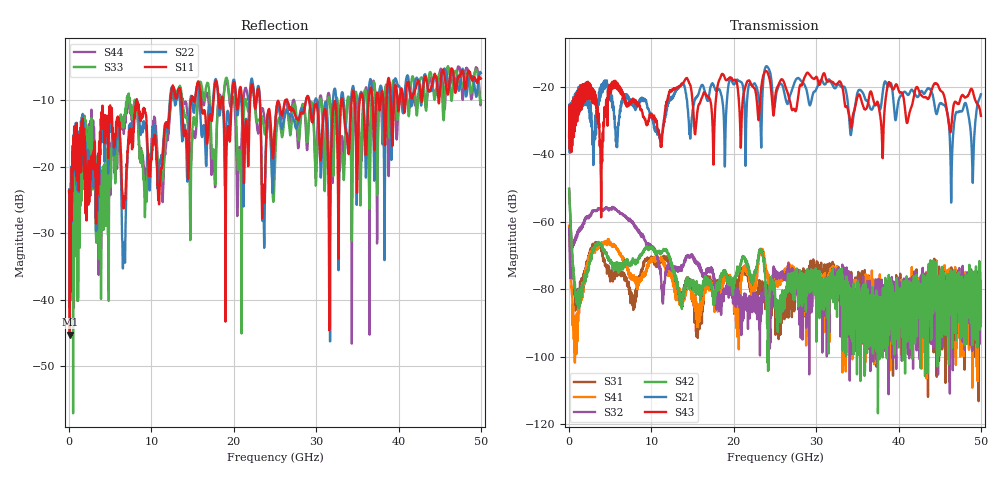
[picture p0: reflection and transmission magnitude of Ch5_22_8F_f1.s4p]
!Agilent Technologies,N5247A,US51170199,A.09.90.13
!Agilent N5247A: A.09.90.13
!Date: Wednesday, December 09, 2015 09:42:57
!Correction: S11(Full 4 Port(1,2,3,4))
!S12(Full 4 Port(1,2,3,4))
!S13(Full 4 Port(1,2,3,4))
!S14(Full 4 Port(1,2,3,4))
!S21(Full 4 Port(1,2,3,4))
!S22(Full 4 Port(1,2,3,4))
!S23(Full 4 Port(1,2,3,4))
!S24(Full 4 Port(1,2,3,4))
!S31(Full 4 Port(1,2,3,4))
!S32(Full 4 Port(1,2,3,4))
!S33(Full 4 Port(1,2,3,4))
!S34(Full 4 Port(1,2,3,4))
!S41(Full 4 Port(1,2,3,4))
!S42(Full 4 Port(1,2,3,4))
!S43(Full 4 Port(1,2,3,4))
!S44(Full 4 Port(1,2,3,4))
!S4P File: Measurements: <S11,S12,S13,S14>,
!<S21,S22,S23,S24>,
!<S31,S32,S33,S34>,
!<S41,S42,S43,S44>:
# Hz S  dB  R 50
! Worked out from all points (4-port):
!   3201 points, 10 MHz to 50 GHz, reference 50 ohm
!   strongest paths, dB at 10 MHz, 12.51 GHz, 25 GHz, 37.5 GHz, 50 GHz:
!     S43: -35.0, -21.2, -23.8, -24.7, -28.6
!     S21: -34.5, -23.5, -25.2, -25.1, -22.2
!     S42: -50.2, -73.1, -80.6, -116.8, -88.0
!     S32: -62.0, -73.8, -75.3, -87.3, -81.2
!     S41: -61.2, -76.7, -77.1, -84.1, -89.7
!     S31: -50.4, -75.0, -84.7, -84.6, -87.5
!   lowest |S11| = -45.3 dB at 88.11 MHz (marker M1), VSWR 1.01, Z = 50.3 + j0.471 ohm
!   |S11| at or under -10 dB: start of sweep to 8.22 GHz; 8.243 GHz to 12.29 GHz (4.047 GHz wide, 39.4 % of centre); 29.15 GHz to 33.05 GHz (3.902 GHz wide, 12.5 % of centre)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
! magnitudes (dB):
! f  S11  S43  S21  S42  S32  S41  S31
! 10 MHz  -23.8  -35.0  -34.5  -50.2  -62.0  -61.2  -50.4
! 88.11 MHz  -45.3  -38.4  -39.6  -54.4  -70.4  -66.3  -54.4
! 1.01 GHz  -17.8  -26.6  -22.9  -82.6  -63.7  -95.5  -82.1
! 3.931 GHz  -12.6  -48.5  -19.7  -67.3  -56.3  -66.4  -68.4
! 43.67 GHz  -8.6  -23.4  -20.4  -72.5  -81.2  -82.9  -81.9
! 46.42 GHz  -5.2  -31.6  -50.4  -81.8  -85.5  -92.0  -80.8
! 50 GHz  -6.7  -28.6  -22.2  -88.0  -81.2  -89.7  -87.5
